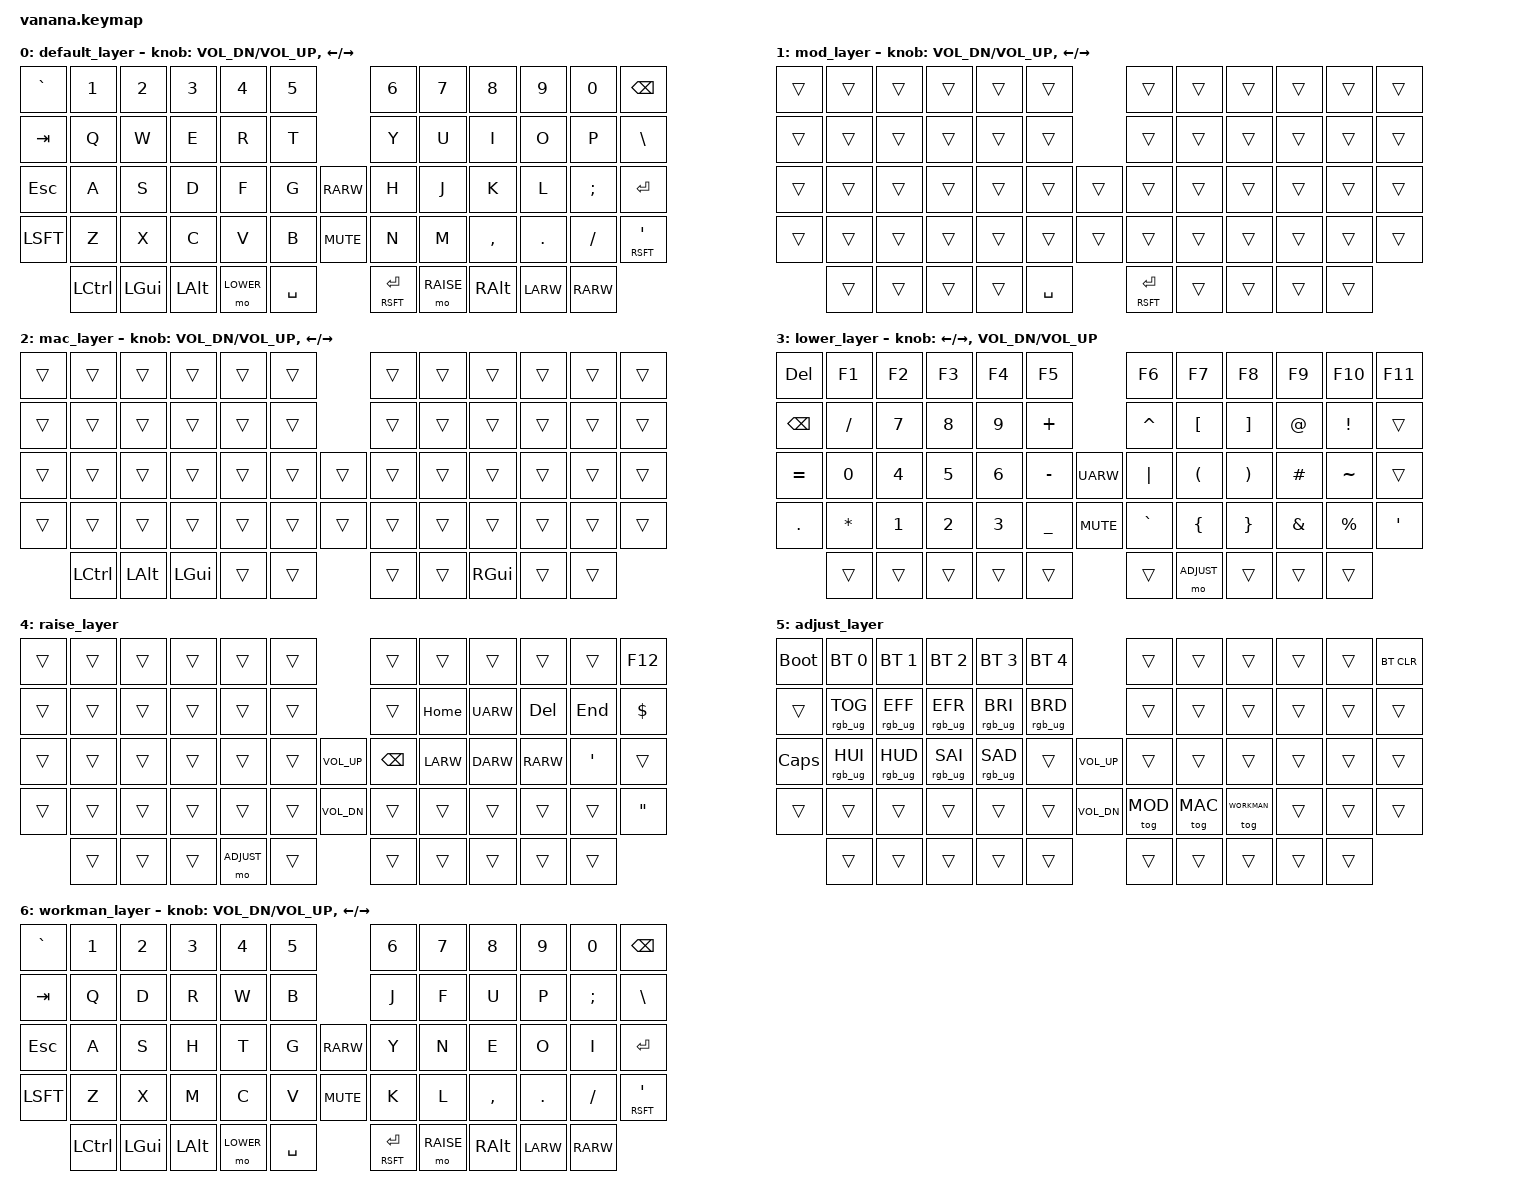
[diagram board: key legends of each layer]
/*
 * Copyright (c) 2020 dELLIKEEb
 *
 * SPDX-License-Identifier: MIT
 */

#include <behaviors.dtsi>
#include <dt-bindings/zmk/keys.h>
#include <dt-bindings/zmk/bt.h>
#include <dt-bindings/zmk/rgb.h>

// custom keycode defs for easier access
#define DEFAULT 0
#define MOD     1
#define MAC     2
#define LOWER   3
#define RAISE   4
#define ADJUST  5
#define WORKMAN 6

// / {
//     behaviors {
//         hm: homerow_mods {
//             compatible = "zmk,behavior-hold-tap";
//             label = "homerow mods";
//             #binding-cells = <2>;
//             tapping_term_ms = <225>;
//             flavor = "tap-preferred";
//             bindings = <&kp>, <&kp>;
//         };
//     };
// };

// BASE
// ----------------------------------------------              -----------------------------------------------
// |   `   |   1  |   2  |   3  |   4   |   5   |              |   6   |   7   |   8  |   9  |   0   | Bksp  |
// ----------------------------------------------              -----------------------------------------------
// | Tab   |   Q  |   W  |   E  |   R   |   T   |              |   Y   |   U   |   I  |   O  |   P   | \     |
// ----------------------------------------------   ---------  -----------------------------------------------
// | Esc   |   A  |   S  |   D  |   F   |   G   |   | Right |  |   H   |   J   |   K  |   L  |   ;   | Enter |
// ----------------------------------------------   ---------  -----------------------------------------------
// | Shift |   Z  |   X  |   C  |   V   |   B   |   | Mute  |  |   N   |   M   |   ,  |   .  |   /   | "     |
// ----------------------------------------------   ---------  -----------------------------------------------
//         | Ctrl | GUI  |  Alt | Lower | Space |              | Enter | Raise | Alt  | Left | Right |
//         --------------------------------------              ---------------------------------------
// 
// WORKMAN
// ----------------------------------------------              -----------------------------------------------
// |   `   |   1  |   2  |   3  |   4   |   5   |              |   6   |   7   |   8  |   9  |   0   | Bksp  |
// ----------------------------------------------              -----------------------------------------------
// | Tab   |   Q  |   D  |   R  |   W   |   B   |              |   J   |   F   |   U  |   P  |   ;   | \     |
// ----------------------------------------------   ---------  -----------------------------------------------
// | Esc   |   A  |   S  |   H  |   T   |   G   |   | Right |  |   Y   |   N   |   E  |   O  |   I   | Enter |
// ----------------------------------------------   ---------  -----------------------------------------------
// | Shift |   Z  |   X  |   M  |   C   |   V   |   | Mute  |  |   K   |   L   |   ,  |   .  |   /   | "     |
// ----------------------------------------------   ---------  -----------------------------------------------
//         | Ctrl | GUI  |  Alt | Lower | Space |              | Enter | Raise | Alt  | Left | Right |
//         --------------------------------------              ---------------------------------------
// 
/ {
    keymap {
        compatible = "zmk,keymap";

        default_layer {
            bindings = <
                &kp GRAV    &kp N1      &kp N2      &kp N3      &kp N4    &kp N5                    &kp N6       &kp N7      &kp N8      &kp N9      &kp N0      &kp BKSP
                &kp TAB     &kp Q       &kp W       &kp E       &kp R     &kp T                     &kp Y        &kp U       &kp I       &kp O       &kp P       &kp BSLH
                &kp ESC     &kp A       &kp S       &kp D       &kp F     &kp G         &kp RARW    &kp H        &kp J       &kp K       &kp L       &kp SCLN    &kp RET
                &kp LSFT    &kp Z       &kp X       &kp C       &kp V     &kp B         &kp C_MUTE  &kp N        &kp M       &kp CMMA    &kp DOT     &kp FSLH    &mt RSFT SQT
                            &kp LCTL    &kp LGUI   &kp LALT     &mo LOWER &kp SPC                   &mt RSFT RET &mo RAISE   &kp RALT    &kp LARW    &kp RARW
            >;
            sensor-bindings = <&inc_dec_kp C_VOL_DN C_VOL_UP &inc_dec_kp LEFT RIGHT>;
        };

        mod_layer {
            bindings = <
                &trans      &trans      &trans      &trans      &trans      &trans                  &trans       &trans      &trans      &trans      &trans      &trans  
                &trans      &trans      &trans      &trans      &trans      &trans                  &trans       &trans      &trans      &trans      &trans      &trans
                &trans      &trans      &trans      &trans      &trans      &trans      &trans      &trans       &trans      &trans      &trans      &trans      &trans
                &trans      &trans      &trans      &trans      &trans      &trans      &trans      &trans       &trans      &trans      &trans      &trans      &trans 
                            &trans      &trans      &trans      &trans      &kp SPC                 &mt RSFT RET &trans      &trans      &trans      &trans
            >;
            sensor-bindings = <&inc_dec_kp C_VOL_DN C_VOL_UP &inc_dec_kp LEFT RIGHT>;
        };

        mac_layer {
            bindings = <
                &trans      &trans      &trans      &trans      &trans      &trans                  &trans       &trans      &trans      &trans      &trans      &trans  
                &trans      &trans      &trans      &trans      &trans      &trans                  &trans       &trans      &trans      &trans      &trans      &trans
                &trans      &trans      &trans      &trans      &trans      &trans      &trans      &trans       &trans      &trans      &trans      &trans      &trans
                &trans      &trans      &trans      &trans      &trans      &trans      &trans      &trans       &trans      &trans      &trans      &trans      &trans 
                            &kp LCTL    &kp LALT    &kp LGUI    &trans      &trans                  &trans       &trans      &kp RGUI    &trans      &trans
            >;
            sensor-bindings = <&inc_dec_kp C_VOL_DN C_VOL_UP &inc_dec_kp LEFT RIGHT>;
        };

        lower_layer {
            bindings = <
                &kp DEL     &kp F1      &kp F2      &kp F3      &kp F4      &kp F5                  &kp F6       &kp F7      &kp F8      &kp F9      &kp F10     &kp F11  
                &kp BKSP    &kp FSLH    &kp NUM_7   &kp NUM_8   &kp NUM_9   &kp PLUS                &kp CARET    &kp LBKT    &kp RBKT    &kp AT      &kp EXCL    &trans
                &kp EQUAL   &kp NUM_0   &kp NUM_4   &kp NUM_5   &kp NUM_6   &kp MINUS   &kp UARW    &kp PIPE     &kp LPAR    &kp RPAR    &kp HASH    &kp TILDE   &trans
                &kp DOT     &kp STAR    &kp NUM_1   &kp NUM_2   &kp NUM_3   &kp UNDER   &kp C_MUTE  &kp GRAV     &kp LBRC    &kp RBRC    &kp AMPS    &kp PRCNT   &kp SQT
                            &trans      &trans      &trans      &trans      &trans                  &trans       &mo ADJUST  &trans      &trans      &trans
            >;
            sensor-bindings = <&inc_dec_kp LEFT RIGHT &inc_dec_kp C_VOL_DN C_VOL_UP>;
        };

        raise_layer {
            bindings = <
                &trans      &trans      &trans      &trans      &trans      &trans                      &trans      &trans      &trans      &trans      &trans      &kp F12  
                &trans      &trans      &trans      &trans      &trans      &trans                      &trans      &kp HOME    &kp UARW    &kp DEL     &kp END     &kp DOLLAR
                &trans      &trans      &trans      &trans      &trans      &trans      &kp C_VOL_UP    &kp BSPC    &kp LARW    &kp DARW    &kp RARW    &kp APOS    &trans 
                &trans      &trans      &trans      &trans      &trans      &trans      &kp C_VOL_DN    &trans      &trans      &trans      &trans      &trans      &kp DQT 
                            &trans      &trans      &trans      &mo ADJUST  &trans                      &trans      &trans      &trans      &trans      &trans
            >;
            
        };
        
        adjust_layer {
            bindings = <
                &bootloader &bt BT_SEL 0    &bt BT_SEL 1    &bt BT_SEL 2    &bt BT_SEL 3    &bt BT_SEL 4                    &trans      &trans      &trans       &trans      &trans      &bt BT_CLR        
                &trans      &rgb_ug RGB_TOG &rgb_ug RGB_EFF &rgb_ug RGB_EFR &rgb_ug RGB_BRI &rgb_ug RGB_BRD                 &trans      &trans      &trans       &trans      &trans      &trans
                &kp CAPS    &rgb_ug RGB_HUI &rgb_ug RGB_HUD &rgb_ug RGB_SAI &rgb_ug RGB_SAD &trans          &kp C_VOL_UP    &trans      &trans      &trans       &trans      &trans      &trans  
                &trans      &trans          &trans          &trans          &trans          &trans          &kp C_VOL_DN    &tog MOD    &tog MAC    &tog WORKMAN &trans      &trans      &trans  
                            &trans          &trans          &trans          &trans          &trans                          &trans      &trans      &trans       &trans      &trans
            >;
        };

        workman_layer {
            bindings = <
                &kp GRAV    &kp N1      &kp N2      &kp N3      &kp N4    &kp N5                    &kp N6       &kp N7      &kp N8      &kp N9      &kp N0      &kp BKSP
                &kp TAB     &kp Q       &kp D       &kp R       &kp W     &kp B                     &kp J        &kp F       &kp U       &kp P       &kp SCLN    &kp BSLH
                &kp ESC     &kp A       &kp S       &kp H       &kp T     &kp G         &kp RARW    &kp Y        &kp N       &kp E       &kp O       &kp I       &kp RET
                &kp LSFT    &kp Z       &kp X       &kp M       &kp C     &kp V         &kp C_MUTE  &kp K        &kp L       &kp CMMA    &kp DOT     &kp FSLH    &mt RSFT SQT
                            &kp LCTL    &kp LGUI   &kp LALT     &mo LOWER &kp SPC                   &mt RSFT RET &mo RAISE   &kp RALT    &kp LARW    &kp RARW
            >;
            sensor-bindings = <&inc_dec_kp C_VOL_DN C_VOL_UP &inc_dec_kp LEFT RIGHT>;
        };

    };
};
